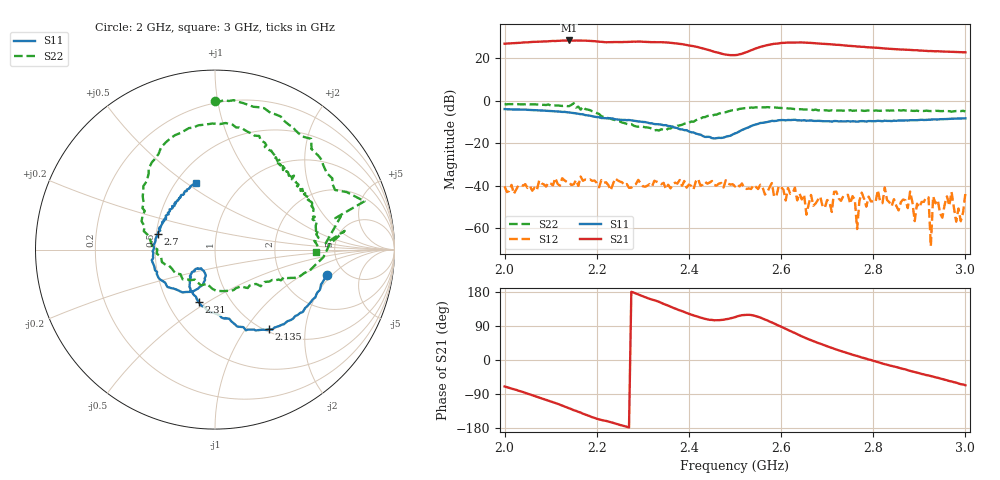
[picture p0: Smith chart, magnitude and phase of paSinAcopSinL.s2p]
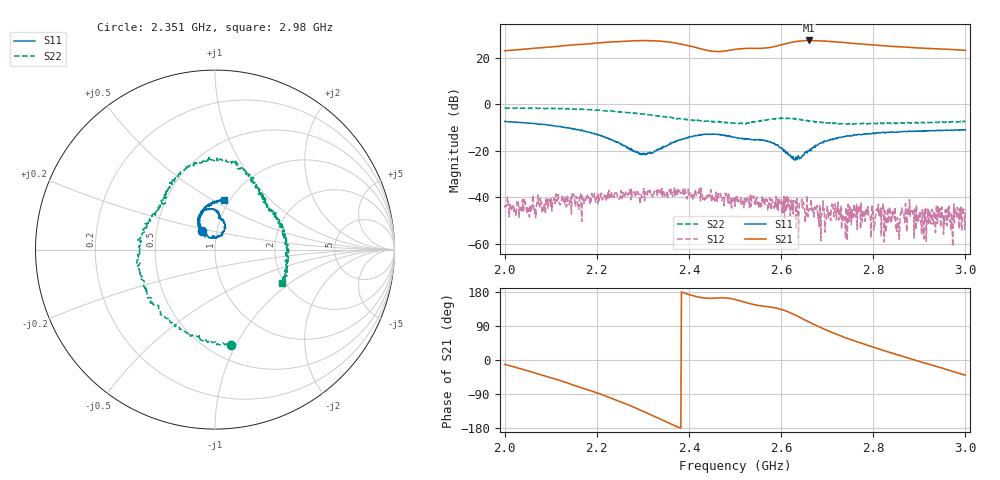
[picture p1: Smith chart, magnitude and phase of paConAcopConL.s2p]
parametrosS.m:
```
close all; clc; clear all;
sinL = sparameters('paSinAcopSinL.s2p');
conL = sparameters('paConAcopConL.s2p');
figure
rfplot(sinL, '-+')
% title('Sin bobina y sin acoplador')
hold on;
rfplot(conL, '-*')
% title('Con bobina y Con acoplador')


s22_hpa = abs(rfparam(sinL,2,2));
s21_cp = (10^(-20/10))*ones(length(s22_hpa),1);
s12_cp = (10^(-20/10))*ones(length(s22_hpa),1);
s22_cp = (10^(-30/10))*ones(length(s22_hpa),1);


s22tot = s22_cp + (s21_cp.*s12_cp.*s22_hpa)./(1-s22_cp);%.*s22_hpa);
figure;
plot(sinL.Frequencies,10*log10(s22tot))
```
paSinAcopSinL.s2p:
!Agilent Technologies,E8364A,US41440144,A.06.04.32
!Agilent E8364A: A.06.04.32
!Date: Thursday, February 01, 2018 11:40:27
!Correction: S11(Full 2 Port(1,2)) S21(Full 2 Port(1,2)) S12(Full 2 Port(1,2)) S22(Full 2 Port(1,2))
!S2P File: Measurements: S11, S21, S12, S22:
# Hz S  dB  R 50
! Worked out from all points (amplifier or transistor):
!   201 points, 2 GHz to 3 GHz, reference 50 ohm
!   highest |S21| = 28.4 dB at 2.14 GHz (marker M1)
!   |S21| within 3 dB of that: start of sweep to 2.417 GHz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
!   unconditionally stable (mu >= 1): 2.2 GHz to end of sweep
!   at 2.165 GHz: K = 0.54, MSG = 32.0 dB, |S12| = -35.7 dB
!   at 2.5 GHz: K = 2.77, MAG = 23.6 dB, |S12| = -40.4 dB
!   at 3 GHz: K = 3.34, MAG = 25.0 dB, |S12| = -43.5 dB
!   S11 on the Smith chart (normalised r, x): 2 GHz: 3.66, -1.72; 2.135 GHz: 1.04, -1.30; 2.31 GHz: 0.71, -0.46; 2.7 GHz: 0.51, +0.10; 3 GHz: 0.63, +0.55
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2e9  -3.91 -12.6  26.89 -69.9  -40.31 -178.3  -1.63 90.2
2.135e9  -5.40 -55.8  28.35 -124.9  -38.25 130.0  -2.50 29.5
2.14e9  -5.49 -57.4  28.40 -127.3  -38.38 127.5  -2.54 26.4
2.31e9  -10.28 -107.3  27.69 163.9  -39.94 62.4  -12.58 -80.0
2.395e9  -13.84 -133.5  26.29 124.0  -40.90 22.0  -10.35 -166.8
2.5e9  -15.37 -109.8  21.50 113.0  -40.35 -2.0  -4.37 124.0
2.555e9  -10.47 -127.3  25.36 112.0  -39.54 -26.9  -3.07 91.2
2.605e9  -9.07 -157.3  27.28 85.0  -41.83 -51.6  -3.45 70.8
2.7e9  -9.61 164.4  26.67 36.2  -46.70 -18.9  -4.58 49.7
2.835e9  -9.48 134.9  24.48 -14.3  -47.79 38.2  -4.67 28.3
3e9  -8.27 105.5  22.80 -66.6  -43.53 -64.3  -4.99 -1.6
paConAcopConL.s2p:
!Agilent Technologies,E8364A,US41440144,A.06.04.32
!Agilent E8364A: A.06.04.32
!Date: Wednesday, January 31, 2018 11:54:19
!Correction: S11(Full 2 Port(1,2)) S21(Full 2 Port(1,2)) S12(Full 2 Port(1,2)) S22(Full 2 Port(1,2))
!S2P File: Measurements: S11, S21, S12, S22:
# Hz S  dB  R 50
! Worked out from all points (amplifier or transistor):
!   801 points, 2 GHz to 3 GHz, reference 50 ohm
!   highest |S21| = 27.5 dB at 2.661 GHz (marker M1)
!   |S21| within 3 dB of that: 2.088 GHz to 2.415 GHz (327.3 MHz wide, 14.5 % of centre)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
!   unconditionally stable (mu >= 1): 2.046094 GHz to 2.054954 GHz; 2.243653 GHz to 2.251815 GHz; 2.275 GHz to end of sweep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
!   at 2.166 GHz: K = 1.54, MAG = 31.2 dB, |S12| = -45.2 dB
!   at 2.5 GHz: K = 4.12, MAG = 24.6 dB, |S12| = -43.8 dB
!   at 3 GHz: K = 4.63, MAG = 24.5 dB, |S12| = -44.9 dB
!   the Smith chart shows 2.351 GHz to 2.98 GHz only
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2e9  -7.31 125.5  23.08 -11.5  -44.33 -121.2  -1.58 97.7
2.11875e9  -9.41 93.1  25.04 -53.7  -42.98 -159.7  -1.97 58.6
2.235e9  -15.50 66.4  26.94 -102.7  -39.79 159.4  -2.76 6.1
2.34375e9  -18.41 127.0  27.06 -159.3  -38.01 118.5  -5.14 -71.2
2.40625e9  -13.88 116.3  24.93 170.5  -39.93 66.0  -6.70 -132.5
2.5e9  -14.17 84.0  23.63 159.7  -43.81 47.3  -8.09 148.2
2.61125e9  -20.39 67.7  26.18 129.3  -46.02 0.2  -6.22 88.5
2.66125e9  -19.97 122.6  27.50 99.8  -44.94 15.3  -7.31 62.5
2.73375e9  -13.91 114.5  26.61 61.5  -48.64 -15.7  -8.32 41.0
2.805e9  -12.58 102.8  25.49 31.7  -47.32 44.5  -8.17 23.1
3e9  -10.93 77.6  23.30 -39.7  -44.94 -48.2  -7.24 -34.2
